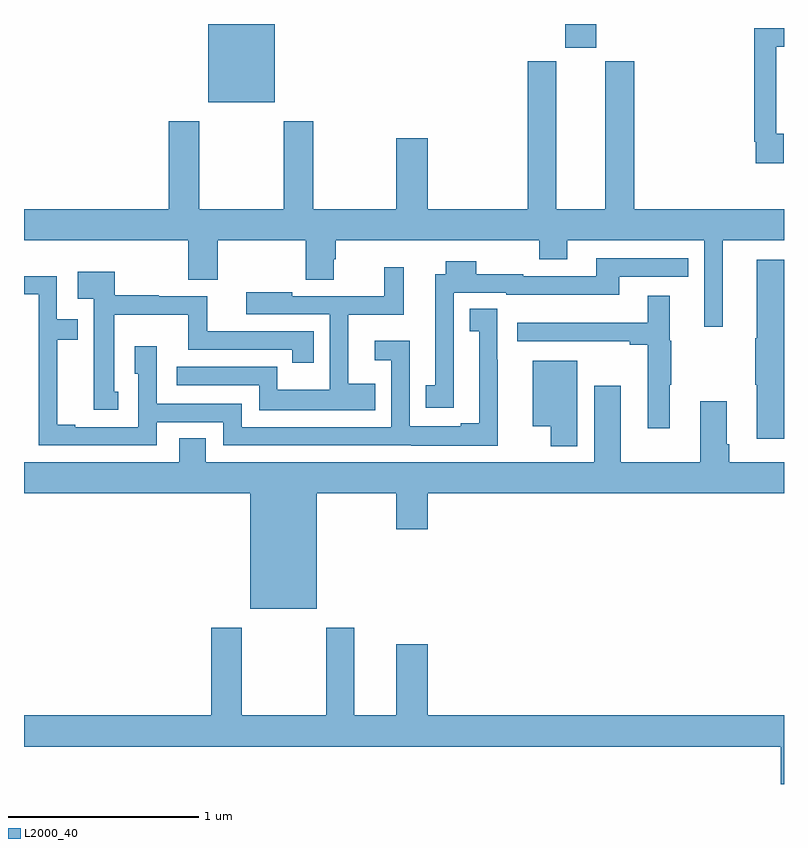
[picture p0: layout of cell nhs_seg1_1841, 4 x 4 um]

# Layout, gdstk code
import gdstk
lib = gdstk.Library(unit=1e-6, precision=1e-09)
def R(c, l, rs):  # rectangles x0, y0, x1, y1
    for r in rs: c.add(gdstk.rectangle(r[:2], r[2:], *l))
def P(c, l, *ps):  # polygons
    for p in ps: c.add(gdstk.Polygon(p, *l))
L2000_40 = (2000, 40)

nhs_seg1_1841 = lib.new_cell('nhs_seg1_1841')
R(nhs_seg1_1841, L2000_40, [(211.97,557.786,212.32,558.199), (213.848,558.075,214.012,558.199)])
P(nhs_seg1_1841, L2000_40, [(214.999,557.622),(214.959,557.622),(214.959,558.078),(215,558.078),(215,558.176),(214.843,558.176),(214.843,557.578),(214.851,557.578),(214.851,557.466),(214.999,557.466)],
  [(214.678,557.06),(215,557.06),(215,557.224),(214.211,557.224),(214.211,558.003),(214.058,558.003),(214.058,557.224),(213.802,557.224),(213.802,558.003),(213.65,558.003),(213.65,557.224),(213.124,557.224),(213.124,557.599),(212.96,557.599),(212.96,557.224),(212.523,557.224),(212.523,557.686),(212.368,557.686),(212.368,557.224),(211.923,557.224),(211.923,557.686),(211.763,557.686),(211.763,557.224),(211,557.224),(211,557.06),(211.864,557.06),(211.864,556.852),(212.019,556.852),(212.019,557.06),(212.482,557.06),(212.482,556.852),(212.629,556.852),(212.629,556.962),(212.642,556.962),(212.642,557.06),(213.712,557.06),(213.712,556.961),(213.859,556.961),(213.859,557.06),(214.581,557.06),(214.581,556.605),(214.678,556.605)],
  [(213.262,556.502),(213.261,556.502),(213.261,556.785),(213.537,556.785),(213.537,556.775),(214.132,556.775),(214.132,556.869),(214.496,556.869),(214.496,556.965),(214.013,556.965),(214.013,556.872),(213.627,556.872),(213.627,556.882),(213.381,556.882),(213.381,556.951),(213.221,556.951),(213.221,556.881),(213.164,556.881),(213.164,556.299),(213.115,556.299),(213.115,556.179),(213.262,556.179)],
  [(215,556.957),(214.856,556.957),(214.856,556.544),(214.849,556.544),(214.849,556.3),(214.856,556.3),(214.856,556.017),(215,556.017)],
  [(212.849,556.306),(212.707,556.306),(212.707,556.67),(212.998,556.67),(212.998,556.918),(212.896,556.918),(212.896,556.767),(212.413,556.767),(212.413,556.786),(212.169,556.786),(212.169,556.671),(212.61,556.671),(212.61,556.273),(212.334,556.273),(212.334,556.394),(212.231,556.394),(212.231,556.395),(211.803,556.395),(211.803,556.299),(212.238,556.299),(212.238,556.166),(212.849,556.166)],
  [(211.495,556.263),(211.474,556.263),(211.474,556.67),(211.865,556.67),(211.865,556.485),(212.412,556.485),(212.412,556.416),(212.525,556.416),(212.525,556.581),(211.964,556.581),(211.964,556.767),(211.71,556.767),(211.71,556.772),(211.477,556.772),(211.477,556.894),(211.284,556.894),(211.284,556.754),(211.368,556.754),(211.368,556.658),(211.367,556.658),(211.367,556.17),(211.495,556.17)],
  [(213.494,556.433),(213.492,556.433),(213.492,556.7),(213.346,556.7),(213.346,556.582),(213.395,556.582),(213.395,556.099),(213.299,556.099),(213.299,556.081),(213.03,556.081),(213.03,556.531),(212.847,556.531),(212.847,556.43),(212.934,556.43),(212.934,556.077),(212.145,556.077),(212.145,556.2),(211.698,556.2),(211.698,556.504),(211.583,556.504),(211.583,556.359),(211.602,556.359),(211.602,556.077),(211.27,556.077),(211.27,556.09),(211.175,556.09),(211.175,556.536),(211.282,556.536),(211.282,556.644),(211.173,556.644),(211.173,556.872),(211,556.872),(211,556.776),(211.077,556.776),(211.077,555.981),(211.698,555.981),(211.698,556.104),(212.049,556.104),(212.049,555.981),(213.037,555.981),(213.037,555.98),(213.494,555.98)],
  [(214.399,556.3),(214.407,556.3),(214.407,556.533),(214.399,556.533),(214.399,556.768),(214.283,556.768),(214.283,556.627),(213.597,556.627),(213.597,556.53),(214.009,556.53),(214.009,556.528),(214.187,556.528),(214.187,556.51),(214.283,556.51),(214.283,556.071),(214.399,556.071)],
  [(213.913,556.426),(213.677,556.426),(213.677,556.082),(213.773,556.082),(213.773,555.977),(213.913,555.977)],
  [(212.542,555.728),(212.96,555.728),(212.96,555.54),(213.124,555.54),(213.124,555.728),(215,555.728),(215,555.892),(214.712,555.892),(214.712,555.988),(214.699,555.988),(214.699,556.213),(214.559,556.213),(214.559,555.892),(214.141,555.892),(214.141,556.294),(214.001,556.294),(214.001,555.892),(211.957,555.892),(211.957,556.019),(211.817,556.019),(211.817,555.892),(211,555.892),(211,555.728),(212.192,555.728),(212.192,555.122),(212.542,555.122)],
  [(215,554.56),(213.124,554.56),(213.124,554.935),(212.96,554.935),(212.96,554.56),(212.737,554.56),(212.737,555.022),(212.59,555.022),(212.59,554.56),(212.145,554.56),(212.145,555.022),(211.985,555.022),(211.985,554.56),(211,554.56),(211,554.396),(214.982,554.396),(214.982,554.199),(215,554.199)])

lib.write_gds('nhs_seg1_1841.gds')
